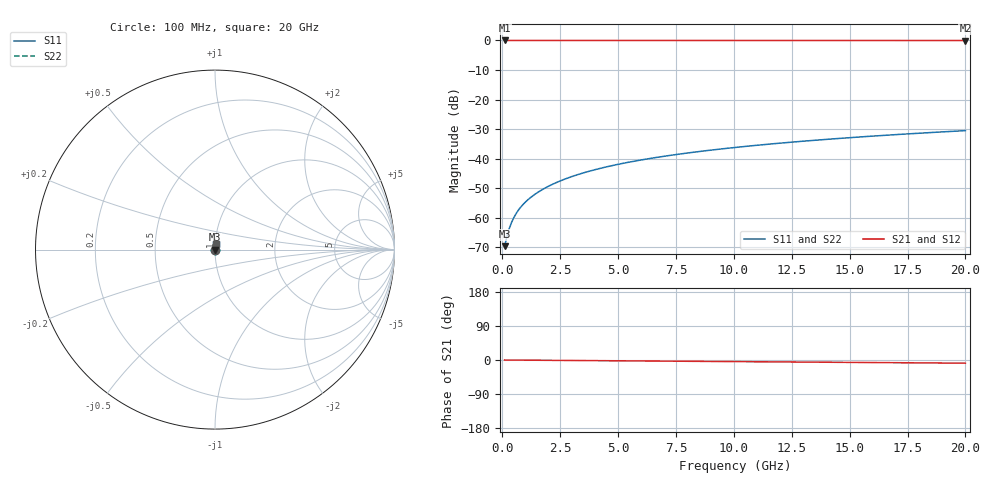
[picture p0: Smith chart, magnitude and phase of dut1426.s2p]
! Touchstone file exported from HFSS 2026.1.0
!  File:  C:/ffzhzh/LocalFiles/Ansys_Project_Files/temp_train_TSV_1426_1783197363_55132.aedt
!  Generated:  04:37:57 AM Jul  5, 2026
!  Design:  TSV
!  Project:  temp_train_TSV_1426_1783197363_55132
! Variables:
!  h_bsmrdl = 2um
!  h_ox = 20um
!  h_rdl = 5um
!  h_sub = 84.26um
!  h_tmrdl = 5um
!  h_tsv = 84.26um
!  h_via = 3um
!  l_bsmrdl = 300um
!  l_sub = 413.06um
!  l_tmrdl = 200um
!  m_sub = 200um
!  pitch = 34.59um
!  r_tsv = 6.53um
!  s_tmrdl = 10um
!  w_bsmrdl = 18um
!  w_sub = 500um
!  w_tmrdl = 12um
!  x_tsv_center1 = 206um
!  x_tsv_center2 = 524um
!  x_tsv_center3 = 736um
!  x_tsv_center4 = 1054um
!  x_tsv_center5 = 1266um
!  x_tsv_center6 = 1584um
# GHz S MA R 50.000000
! Terminal data exported
! Port[1] = TSV1_1_T1
! Port[2] = TSV1_1_T2
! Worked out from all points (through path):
!   200 points, 100 MHz to 20 GHz, reference 50 ohm
!   highest |S21| = 0.00 dB at 100 MHz (marker M1); lowest = 0.0 dB at 20 GHz (marker M2)
!   group delay of S21, straight-line fit = 1.16 ps
!   lowest |S11| = -69.7 dB at 100 MHz (marker M3), VSWR 1.00, Z = 50 + j0.0197 ohm
!   |S11| at or under -10 dB: start of sweep to end of sweep
!   |S22| runs from -69.7 to -30.5 dB; largest |S21 - S12| = 3.1e-15
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0.1  0.0003292 36.8  0.9997 -0.0  0.9997 -0.0  0.0003292 36.8
! Gamma 0 0 0 0
! Port Impedance 50 0 50 0
0.2  0.0004792 54.9  0.9997 -0.1  0.9997 -0.1  0.0004792 54.9
0.3  0.0006524 63.2  0.9997 -0.1  0.9997 -0.1  0.0006524 63.2
0.4  0.0008302 67.6  0.9997 -0.2  0.9997 -0.2  0.0008302 67.6
0.5  0.001006 70.1  0.9997 -0.2  0.9997 -0.2  0.001006 70.1
0.6  0.001179 71.8  0.9996 -0.3  0.9996 -0.3  0.001179 71.8
0.7  0.001349 73.0  0.9996 -0.3  0.9996 -0.3  0.001349 73.0
0.8  0.001515 73.9  0.9996 -0.4  0.9996 -0.4  0.001515 73.9
1  0.00184 75.3  0.9995 -0.4  0.9995 -0.4  0.00184 75.3
1.4  0.002474 77.2  0.9995 -0.6  0.9995 -0.6  0.002474 77.2
1.7  0.002943 78.2  0.9994 -0.7  0.9994 -0.7  0.002943 78.2
2  0.00341 79.0  0.9994 -0.9  0.9994 -0.9  0.00341 79.0
2.7  0.004496 80.1  0.9993 -1.2  0.9993 -1.2  0.004496 80.1
3.5  0.005726 80.8  0.9992 -1.5  0.9992 -1.5  0.005726 80.8
4.2  0.006792 81.0  0.9991 -1.8  0.9991 -1.8  0.006792 81.0
5  0.007997 81.2  0.999 -2.1  0.999 -2.1  0.007997 81.2
6.8  0.01067 81.2  0.9989 -2.9  0.9989 -2.9  0.01067 81.3
8.3  0.01288 81.1  0.9987 -3.5  0.9987 -3.5  0.01288 81.1
10.1  0.01551 80.8  0.9986 -4.3  0.9986 -4.3  0.01551 80.8
13.4  0.0203 80.1  0.9983 -5.6  0.9983 -5.6  0.0203 80.1
16.7  0.02504 79.1  0.998 -7.0  0.998 -7.0  0.02504 79.1
20  0.02973 78.0  0.9977 -8.4  0.9977 -8.4  0.02973 78.0
